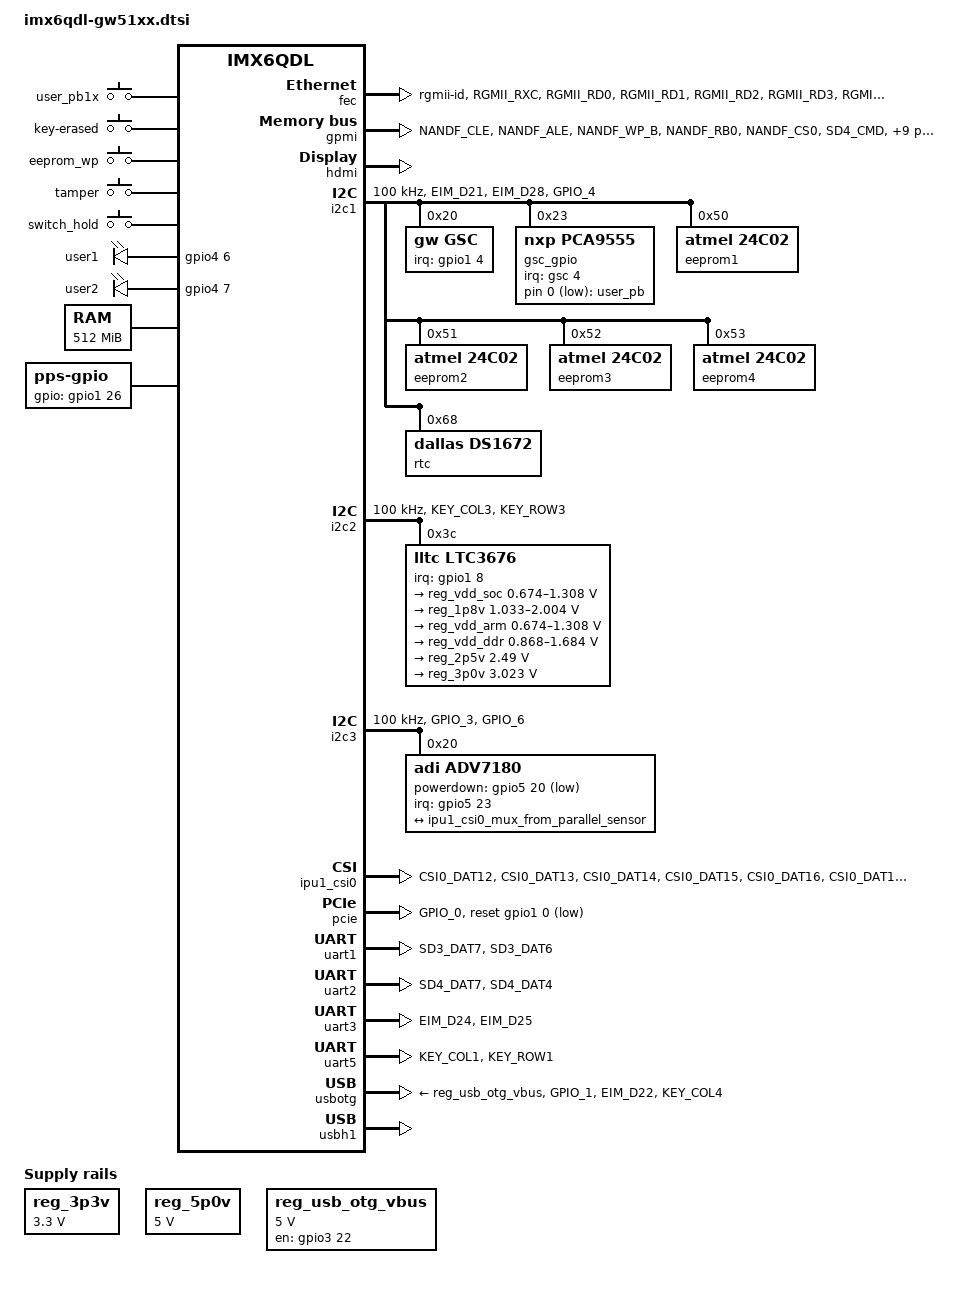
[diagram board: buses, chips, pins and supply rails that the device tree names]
// SPDX-License-Identifier: GPL-2.0-or-later
/*
 * Copyright 2013 Gateworks Corporation
 */

#include <dt-bindings/gpio/gpio.h>
#include <dt-bindings/input/linux-event-codes.h>
#include <dt-bindings/interrupt-controller/irq.h>

/ {
	/* these are used by bootloader for disabling nodes */
	aliases {
		led0 = &led0;
		led1 = &led1;
		nand = &gpmi;
		usb0 = &usbh1;
		usb1 = &usbotg;
	};

	chosen {
		bootargs = "console=ttymxc1,115200";
	};

	gpio-keys {
		compatible = "gpio-keys";

		user-pb {
			label = "user_pb";
			gpios = <&gsc_gpio 0 GPIO_ACTIVE_LOW>;
			linux,code = <BTN_0>;
		};

		user-pb1x {
			label = "user_pb1x";
			linux,code = <BTN_1>;
			interrupt-parent = <&gsc>;
			interrupts = <0>;
		};

		key-erased {
			label = "key-erased";
			linux,code = <BTN_2>;
			interrupt-parent = <&gsc>;
			interrupts = <1>;
		};

		eeprom-wp {
			label = "eeprom_wp";
			linux,code = <BTN_3>;
			interrupt-parent = <&gsc>;
			interrupts = <2>;
		};

		tamper {
			label = "tamper";
			linux,code = <BTN_4>;
			interrupt-parent = <&gsc>;
			interrupts = <5>;
		};

		switch-hold {
			label = "switch_hold";
			linux,code = <BTN_5>;
			interrupt-parent = <&gsc>;
			interrupts = <7>;
		};
	};

	leds {
		compatible = "gpio-leds";
		pinctrl-names = "default";
		pinctrl-0 = <&pinctrl_gpio_leds>;

		led0: user1 {
			label = "user1";
			gpios = <&gpio4 6 GPIO_ACTIVE_HIGH>; /* MX6_PANLEDG */
			default-state = "on";
			linux,default-trigger = "heartbeat";
		};

		led1: user2 {
			label = "user2";
			gpios = <&gpio4 7 GPIO_ACTIVE_HIGH>; /* MX6_PANLEDR */
			default-state = "off";
		};
	};

	memory@10000000 {
		device_type = "memory";
		reg = <0x10000000 0x20000000>;
	};

	pps {
		compatible = "pps-gpio";
		pinctrl-names = "default";
		pinctrl-0 = <&pinctrl_pps>;
		gpios = <&gpio1 26 GPIO_ACTIVE_HIGH>;
		status = "okay";
	};

	reg_3p3v: regulator-3p3v {
		compatible = "regulator-fixed";
		regulator-name = "3P3V";
		regulator-min-microvolt = <3300000>;
		regulator-max-microvolt = <3300000>;
		regulator-always-on;
	};

	reg_5p0v: regulator-5p0v {
		compatible = "regulator-fixed";
		regulator-name = "5P0V";
		regulator-min-microvolt = <5000000>;
		regulator-max-microvolt = <5000000>;
		regulator-always-on;
	};

	reg_usb_otg_vbus: regulator-usb-otg-vbus {
		compatible = "regulator-fixed";
		regulator-name = "usb_otg_vbus";
		regulator-min-microvolt = <5000000>;
		regulator-max-microvolt = <5000000>;
		gpio = <&gpio3 22 GPIO_ACTIVE_HIGH>;
		enable-active-high;
	};
};

&fec {
	pinctrl-names = "default";
	pinctrl-0 = <&pinctrl_enet>;
	phy-mode = "rgmii-id";
	phy-reset-gpios = <&gpio1 30 GPIO_ACTIVE_LOW>;
	status = "okay";
};

&gpmi {
	pinctrl-names = "default";
	pinctrl-0 = <&pinctrl_gpmi_nand>;
	status = "okay";
};

&hdmi {
	ddc-i2c-bus = <&i2c3>;
	status = "okay";
};

&i2c1 {
	clock-frequency = <100000>;
	pinctrl-names = "default";
	pinctrl-0 = <&pinctrl_i2c1>;
	status = "okay";

	gsc: gsc@20 {
		compatible = "gw,gsc";
		reg = <0x20>;
		interrupt-parent = <&gpio1>;
		interrupts = <4 IRQ_TYPE_LEVEL_LOW>;
		interrupt-controller;
		#interrupt-cells = <1>;
		#size-cells = <0>;

		adc {
			compatible = "gw,gsc-adc";
			#address-cells = <1>;
			#size-cells = <0>;

			channel@0 {
				gw,mode = <0>;
				reg = <0x00>;
				label = "temp";
			};

			channel@2 {
				gw,mode = <1>;
				reg = <0x02>;
				label = "vdd_vin";
			};

			channel@5 {
				gw,mode = <1>;
				reg = <0x05>;
				label = "vdd_3p3";
			};

			channel@8 {
				gw,mode = <1>;
				reg = <0x08>;
				label = "vdd_bat";
			};

			channel@b {
				gw,mode = <1>;
				reg = <0x0b>;
				label = "vdd_5p0";
			};

			channel@e {
				gw,mode = <1>;
				reg = <0xe>;
				label = "vdd_arm";
			};

			channel@11 {
				gw,mode = <1>;
				reg = <0x11>;
				label = "vdd_soc";
			};

			channel@14 {
				gw,mode = <1>;
				reg = <0x14>;
				label = "vdd_3p0";
			};

			channel@17 {
				gw,mode = <1>;
				reg = <0x17>;
				label = "vdd_1p5";
			};

			channel@1d {
				gw,mode = <1>;
				reg = <0x1d>;
				label = "vdd_1p8";
			};

			channel@20 {
				gw,mode = <1>;
				reg = <0x20>;
				label = "vdd_an1";
			};

			channel@23 {
				gw,mode = <1>;
				reg = <0x23>;
				label = "vdd_2p5";
			};
		};
	};

	gsc_gpio: gpio@23 {
		compatible = "nxp,pca9555";
		reg = <0x23>;
		gpio-controller;
		#gpio-cells = <2>;
		interrupt-parent = <&gsc>;
		interrupts = <4>;
	};

	eeprom1: eeprom@50 {
		compatible = "atmel,24c02";
		reg = <0x50>;
		pagesize = <16>;
	};

	eeprom2: eeprom@51 {
		compatible = "atmel,24c02";
		reg = <0x51>;
		pagesize = <16>;
	};

	eeprom3: eeprom@52 {
		compatible = "atmel,24c02";
		reg = <0x52>;
		pagesize = <16>;
	};

	eeprom4: eeprom@53 {
		compatible = "atmel,24c02";
		reg = <0x53>;
		pagesize = <16>;
	};

	rtc: ds1672@68 {
		compatible = "dallas,ds1672";
		reg = <0x68>;
	};
};

&i2c2 {
	clock-frequency = <100000>;
	pinctrl-names = "default";
	pinctrl-0 = <&pinctrl_i2c2>;
	status = "okay";

	ltc3676: pmic@3c {
		compatible = "lltc,ltc3676";
		reg = <0x3c>;
		pinctrl-names = "default";
		pinctrl-0 = <&pinctrl_pmic>;
		interrupt-parent = <&gpio1>;
		interrupts = <8 IRQ_TYPE_EDGE_FALLING>;

		regulators {
			/* VDD_SOC (1+R1/R2 = 1.635) */
			reg_vdd_soc: sw1 {
				regulator-name = "vddsoc";
				regulator-min-microvolt = <674400>;
				regulator-max-microvolt = <1308000>;
				lltc,fb-voltage-divider = <127000 200000>;
				regulator-ramp-delay = <7000>;
				regulator-boot-on;
				regulator-always-on;
			};

			/* VDD_1P8 (1+R1/R2 = 2.505): GPS/VideoIn/ENET-PHY */
			reg_1p8v: sw2 {
				regulator-name = "vdd1p8";
				regulator-min-microvolt = <1033310>;
				regulator-max-microvolt = <2004000>;
				lltc,fb-voltage-divider = <301000 200000>;
				regulator-ramp-delay = <7000>;
				regulator-boot-on;
				regulator-always-on;
			};

			/* VDD_ARM (1+R1/R2 = 1.635) */
			reg_vdd_arm: sw3 {
				regulator-name = "vddarm";
				regulator-min-microvolt = <674400>;
				regulator-max-microvolt = <1308000>;
				lltc,fb-voltage-divider = <127000 200000>;
				regulator-ramp-delay = <7000>;
				regulator-boot-on;
				regulator-always-on;
			};

			/* VDD_DDR (1+R1/R2 = 2.105) */
			reg_vdd_ddr: sw4 {
				regulator-name = "vddddr";
				regulator-min-microvolt = <868310>;
				regulator-max-microvolt = <1684000>;
				lltc,fb-voltage-divider = <221000 200000>;
				regulator-ramp-delay = <7000>;
				regulator-boot-on;
				regulator-always-on;
			};

			/* VDD_2P5 (1+R1/R2 = 3.435): PCIe/ENET-PHY */
			reg_2p5v: ldo2 {
				regulator-name = "vdd2p5";
				regulator-min-microvolt = <2490375>;
				regulator-max-microvolt = <2490375>;
				lltc,fb-voltage-divider = <487000 200000>;
				regulator-boot-on;
				regulator-always-on;
			};

			/* VDD_HIGH (1+R1/R2 = 4.17) */
			reg_3p0v: ldo4 {
				regulator-name = "vdd3p0";
				regulator-min-microvolt = <3023250>;
				regulator-max-microvolt = <3023250>;
				lltc,fb-voltage-divider = <634000 200000>;
				regulator-boot-on;
				regulator-always-on;
			};
		};
	};
};

&i2c3 {
	clock-frequency = <100000>;
	pinctrl-names = "default";
	pinctrl-0 = <&pinctrl_i2c3>;
	status = "okay";

	adv7180: camera@20 {
		compatible = "adi,adv7180";
		pinctrl-names = "default";
		pinctrl-0 = <&pinctrl_adv7180>;
		reg = <0x20>;
		powerdown-gpios = <&gpio5 20 GPIO_ACTIVE_LOW>;
		interrupt-parent = <&gpio5>;
		interrupts = <23 IRQ_TYPE_LEVEL_LOW>;

		port {
			adv7180_to_ipu1_csi0_mux: endpoint {
				remote-endpoint = <&ipu1_csi0_mux_from_parallel_sensor>;
				bus-width = <8>;
			};
		};
	};
};

&ipu1_csi0_from_ipu1_csi0_mux {
	bus-width = <8>;
};

&ipu1_csi0_mux_from_parallel_sensor {
	remote-endpoint = <&adv7180_to_ipu1_csi0_mux>;
	bus-width = <8>;
};

&ipu1_csi0 {
	pinctrl-names = "default";
	pinctrl-0 = <&pinctrl_ipu1_csi0>;
};

&pcie {
	pinctrl-names = "default";
	pinctrl-0 = <&pinctrl_pcie>;
	reset-gpio = <&gpio1 0 GPIO_ACTIVE_LOW>;
	status = "okay";
};

&pwm2 {
	pinctrl-names = "default";
	pinctrl-0 = <&pinctrl_pwm2>; /* MX6_DIO1 */
	status = "disabled";
};

&pwm3 {
	pinctrl-names = "default";
	pinctrl-0 = <&pinctrl_pwm3>; /* MX6_DIO2 */
	status = "disabled";
};

&pwm4 {
	pinctrl-names = "default";
	pinctrl-0 = <&pinctrl_pwm4>; /* MX6_DIO3 */
	status = "disabled";
};

&uart1 {
	pinctrl-names = "default";
	pinctrl-0 = <&pinctrl_uart1>;
	status = "okay";
};

&uart2 {
	pinctrl-names = "default";
	pinctrl-0 = <&pinctrl_uart2>;
	status = "okay";
};

&uart3 {
	pinctrl-names = "default";
	pinctrl-0 = <&pinctrl_uart3>;
	status = "okay";
};

&uart5 {
	pinctrl-names = "default";
	pinctrl-0 = <&pinctrl_uart5>;
	status = "okay";
};

&usbotg {
	vbus-supply = <&reg_usb_otg_vbus>;
	pinctrl-names = "default";
	pinctrl-0 = <&pinctrl_usbotg>;
	disable-over-current;
	status = "okay";
};

&usbh1 {
	status = "okay";
};

&wdog1 {
	pinctrl-names = "default";
	pinctrl-0 = <&pinctrl_wdog>;
	fsl,ext-reset-output;
};

&iomuxc {
	pinctrl_adv7180: adv7180grp {
		fsl,pins = <
			MX6QDL_PAD_CSI0_DAT5__GPIO5_IO23        0x0001b0b0
			MX6QDL_PAD_CSI0_DATA_EN__GPIO5_IO20     0x4001b0b0
		>;
	};

	pinctrl_enet: enetgrp {
		fsl,pins = <
			MX6QDL_PAD_RGMII_RXC__RGMII_RXC		0x1b030
			MX6QDL_PAD_RGMII_RD0__RGMII_RD0		0x1b030
			MX6QDL_PAD_RGMII_RD1__RGMII_RD1		0x1b030
			MX6QDL_PAD_RGMII_RD2__RGMII_RD2		0x1b030
			MX6QDL_PAD_RGMII_RD3__RGMII_RD3		0x1b030
			MX6QDL_PAD_RGMII_RX_CTL__RGMII_RX_CTL	0x1b030
			MX6QDL_PAD_RGMII_TXC__RGMII_TXC		0x1b030
			MX6QDL_PAD_RGMII_TD0__RGMII_TD0		0x1b030
			MX6QDL_PAD_RGMII_TD1__RGMII_TD1		0x1b030
			MX6QDL_PAD_RGMII_TD2__RGMII_TD2		0x1b030
			MX6QDL_PAD_RGMII_TD3__RGMII_TD3		0x1b030
			MX6QDL_PAD_RGMII_TX_CTL__RGMII_TX_CTL	0x1b030
			MX6QDL_PAD_ENET_REF_CLK__ENET_TX_CLK	0x1b0b0
			MX6QDL_PAD_ENET_MDIO__ENET_MDIO		0x1b0b0
			MX6QDL_PAD_ENET_MDC__ENET_MDC		0x1b0b0
			MX6QDL_PAD_GPIO_16__ENET_REF_CLK	0x4001b0a8
			MX6QDL_PAD_ENET_TXD0__GPIO1_IO30	0x1b0b0 /* PHY Reset */
		>;
	};

	pinctrl_gpio_leds: gpioledsgrp {
		fsl,pins = <
			MX6QDL_PAD_KEY_COL0__GPIO4_IO06		0x1b0b0
			MX6QDL_PAD_KEY_ROW0__GPIO4_IO07		0x1b0b0
		>;
	};

	pinctrl_gpmi_nand: gpminandgrp {
		fsl,pins = <
			MX6QDL_PAD_NANDF_CLE__NAND_CLE		0xb0b1
			MX6QDL_PAD_NANDF_ALE__NAND_ALE		0xb0b1
			MX6QDL_PAD_NANDF_WP_B__NAND_WP_B	0xb0b1
			MX6QDL_PAD_NANDF_RB0__NAND_READY_B	0xb000
			MX6QDL_PAD_NANDF_CS0__NAND_CE0_B	0xb0b1
			MX6QDL_PAD_SD4_CMD__NAND_RE_B		0xb0b1
			MX6QDL_PAD_SD4_CLK__NAND_WE_B		0xb0b1
			MX6QDL_PAD_NANDF_D0__NAND_DATA00	0xb0b1
			MX6QDL_PAD_NANDF_D1__NAND_DATA01	0xb0b1
			MX6QDL_PAD_NANDF_D2__NAND_DATA02	0xb0b1
			MX6QDL_PAD_NANDF_D3__NAND_DATA03	0xb0b1
			MX6QDL_PAD_NANDF_D4__NAND_DATA04	0xb0b1
			MX6QDL_PAD_NANDF_D5__NAND_DATA05	0xb0b1
			MX6QDL_PAD_NANDF_D6__NAND_DATA06	0xb0b1
			MX6QDL_PAD_NANDF_D7__NAND_DATA07	0xb0b1
		>;
	};

	pinctrl_i2c1: i2c1grp {
		fsl,pins = <
			MX6QDL_PAD_EIM_D21__I2C1_SCL		0x4001b8b1
			MX6QDL_PAD_EIM_D28__I2C1_SDA		0x4001b8b1
			MX6QDL_PAD_GPIO_4__GPIO1_IO04		0x0001b0b0 /* GSC_IRQ# */
		>;
	};

	pinctrl_i2c2: i2c2grp {
		fsl,pins = <
			MX6QDL_PAD_KEY_COL3__I2C2_SCL		0x4001b8b1
			MX6QDL_PAD_KEY_ROW3__I2C2_SDA		0x4001b8b1
		>;
	};

	pinctrl_i2c3: i2c3grp {
		fsl,pins = <
			MX6QDL_PAD_GPIO_3__I2C3_SCL		0x4001b8b1
			MX6QDL_PAD_GPIO_6__I2C3_SDA		0x4001b8b1
		>;
	};

	pinctrl_ipu1_csi0: ipu1csi0grp {
		fsl,pins = <
			MX6QDL_PAD_CSI0_DAT12__IPU1_CSI0_DATA12    0x1b0b0
			MX6QDL_PAD_CSI0_DAT13__IPU1_CSI0_DATA13    0x1b0b0
			MX6QDL_PAD_CSI0_DAT14__IPU1_CSI0_DATA14    0x1b0b0
			MX6QDL_PAD_CSI0_DAT15__IPU1_CSI0_DATA15    0x1b0b0
			MX6QDL_PAD_CSI0_DAT16__IPU1_CSI0_DATA16    0x1b0b0
			MX6QDL_PAD_CSI0_DAT17__IPU1_CSI0_DATA17    0x1b0b0
			MX6QDL_PAD_CSI0_DAT18__IPU1_CSI0_DATA18    0x1b0b0
			MX6QDL_PAD_CSI0_DAT19__IPU1_CSI0_DATA19    0x1b0b0
			MX6QDL_PAD_CSI0_MCLK__IPU1_CSI0_HSYNC      0x1b0b0
			MX6QDL_PAD_CSI0_VSYNC__IPU1_CSI0_VSYNC     0x1b0b0
			MX6QDL_PAD_CSI0_PIXCLK__IPU1_CSI0_PIXCLK   0x1b0b0
		>;
	};

	pinctrl_pcie: pciegrp {
		fsl,pins = <
			MX6QDL_PAD_GPIO_0__GPIO1_IO00		0x1b0b0
		>;
	};

	pinctrl_pmic: pmicgrp {
		fsl,pins = <
			MX6QDL_PAD_GPIO_8__GPIO1_IO08		0x0001b0b0 /* PMIC_IRQ# */
		>;
	};

	pinctrl_pps: ppsgrp {
		fsl,pins = <
			MX6QDL_PAD_ENET_RXD1__GPIO1_IO26	0x1b0b1
		>;
	};

	pinctrl_pwm2: pwm2grp {
		fsl,pins = <
			MX6QDL_PAD_SD1_DAT2__PWM2_OUT		0x1b0b1
		>;
	};

	pinctrl_pwm3: pwm3grp {
		fsl,pins = <
			MX6QDL_PAD_SD1_DAT1__PWM3_OUT		0x1b0b1
		>;
	};

	pinctrl_pwm4: pwm4grp {
		fsl,pins = <
			MX6QDL_PAD_SD1_CMD__PWM4_OUT		0x1b0b1
		>;
	};

	pinctrl_uart1: uart1grp {
		fsl,pins = <
			MX6QDL_PAD_SD3_DAT7__UART1_TX_DATA	0x1b0b1
			MX6QDL_PAD_SD3_DAT6__UART1_RX_DATA	0x1b0b1
		>;
	};

	pinctrl_uart2: uart2grp {
		fsl,pins = <
			MX6QDL_PAD_SD4_DAT7__UART2_TX_DATA	0x1b0b1
			MX6QDL_PAD_SD4_DAT4__UART2_RX_DATA	0x1b0b1
		>;
	};

	pinctrl_uart3: uart3grp {
		fsl,pins = <
			MX6QDL_PAD_EIM_D24__UART3_TX_DATA	0x1b0b1
			MX6QDL_PAD_EIM_D25__UART3_RX_DATA	0x1b0b1
		>;
	};

	pinctrl_uart5: uart5grp {
		fsl,pins = <
			MX6QDL_PAD_KEY_COL1__UART5_TX_DATA	0x1b0b1
			MX6QDL_PAD_KEY_ROW1__UART5_RX_DATA	0x1b0b1
		>;
	};

	pinctrl_usbotg: usbotggrp {
		fsl,pins = <
			MX6QDL_PAD_GPIO_1__USB_OTG_ID		0x17059
			MX6QDL_PAD_EIM_D22__GPIO3_IO22		0x1b0b0 /* OTG_PWR_EN */
			MX6QDL_PAD_KEY_COL4__USB_OTG_OC		0x17059
		>;
	};

	pinctrl_wdog: wdoggrp {
		fsl,pins = <
			MX6QDL_PAD_DISP0_DAT8__WDOG1_B		0x1b0b0
		>;
	};
};
